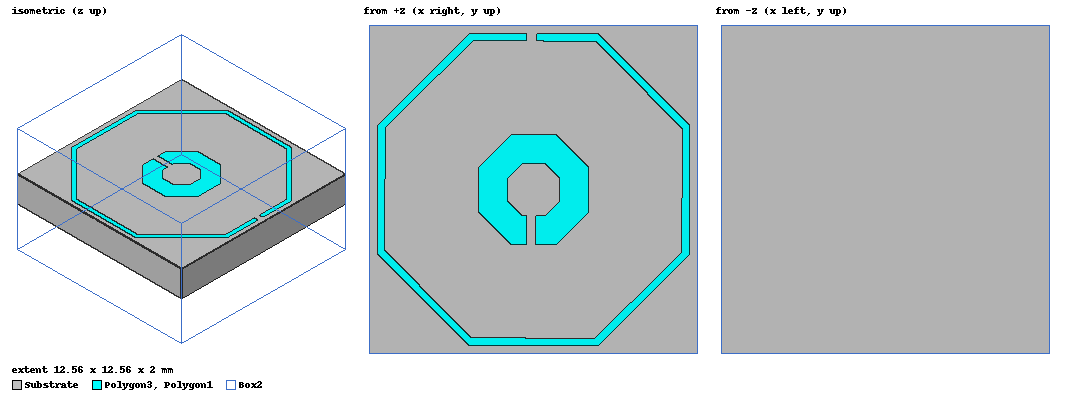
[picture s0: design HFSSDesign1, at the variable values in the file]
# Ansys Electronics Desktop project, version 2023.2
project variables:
  $Ls = $C_centro_afuera*2*$ras
  $Ws = $Ls
  $h = 2mm
  $Altura_caja_aire = 10mm
  $x_centro_afuera = 2.111588278mm  # optimise 1.75mm..5.25mm
  $x_centro_interior = $x_centro_afuera-$r_chica
  $Factor_gap = 0.08  # optimise 0.05..0.15
  $C_centro_afuera = 5.982880535mm  # optimise 2.405mm..7.215mm
  $C_centro_interior = $C_centro_afuera-$r_grande
  $ras = 1.05
  $r_grande = 0.28878261mm  # optimise 0.315mm..0.945mm
  $r_chica = 1.101761707mm  # optimise 0.35mm..1.05mm
  $offsetC = (-0.149335366+0.087508265+2.9797e-5) mm
  $offsetX = (-0.18415798-0.066743382+154.2e-9) mm
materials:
  vacuum: permittivity=1
  Rogers RT/duroid 5870 (tm): permittivity=2.33 dielectric_loss_tangent=0.0012
  Rogers RT/duroid 5880 (tm): permittivity=2.2 dielectric_loss_tangent=0.0009
  air: permittivity=1.0006 permeability=1.0000004

design HFSSDesign1 (HFSS, HFSS Terminal Network, model units mm)
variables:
  Gap = 0.5
  offsetC = 0mm
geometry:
  Substrate [Rogers RT/duroid 5880 (tm)] = box(corner=(-$Ws/2, -$Ls/2, 0mm), size=($Ws, $Ls, $h))
  Box2 [air] = box(corner=(-$Ls/2, -$Ls/2, -$Altura_caja_aire/2+$h), size=($Ls, $Ls, $Altura_caja_aire-$h))
  Polygon1 = regular_polygon(axis=Z, centre=(0mm, 0mm, $h), first_corner=($x_centro_afuera, $x_centro_afuera*0.4116933, $h), sides=8)
  Polygon2 = regular_polygon(axis=Z, centre=(0mm, 0mm, $h), first_corner=($x_centro_interior, $x_centro_interior*0.4116933, $h), sides=8)
  Rectangle1 = rectangle(corner=(-$x_centro_interior*0.4116933*$Factor_gap +$offsetX, -$x_centro_afuera, $h), x_size=2*$C_centro_interior*0.4116933*$Factor_gap, y_size=($x_centro_afuera-$x_centro_interior)*1.1)
  Polygon1.subtract(Polygon2, Rectangle1)
  Polygon3 = regular_polygon(axis=Z, centre=(0mm, 0mm, $h), first_corner=($C_centro_afuera, $C_centro_afuera*0.4116933, $h), sides=8)
  Polygon4 = regular_polygon(axis=Z, centre=(0mm, 0mm, $h), first_corner=($C_centro_interior, $C_centro_interior*0.4116933, $h), sides=8)
  Polygon3.subtract(Polygon4)
  Rectangle2 = rectangle(corner=(-$C_centro_interior*0.4116933*$Factor_gap +$offsetC, $C_centro_interior-0.03e-3, $h), x_size=2*$C_centro_interior*0.4116933*$Factor_gap, y_size=($C_centro_afuera-$C_centro_interior)*1.1)
  Polygon3.subtract(Rectangle2)
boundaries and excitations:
  PerfE1: Perfect E Faces=Box2.face(-y)
  PerfE2: Perfect E Faces=Box2.face(+y)
  PerfH1: Perfect H Faces=Box2.face(+z)
  PerfH2: Perfect H Faces=Box2.face(-z)
  PerfE3: Perfect E Objects=[Polygon3, Polygon1]
  1: Wave Port Faces=Box2.face(+x) WavePortType=Modal NumModes=1 Modes{Mode1{IntLine{(6.2820246, -6.2820246, 1) -> (6.2820246, 6.2820246, 1)} CharImp=Zpi}}
  2: Wave Port Faces=Box2.face(-x) WavePortType=Modal NumModes=1 Modes{Mode1{IntLine{(-6.2820246, -6.2820246, 1) -> (-6.2820246, 6.2820246, 1)} CharImp=Zpi}}
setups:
  Setup1: HfssDriven Frequency=2.45GHz MaxDeltaS=0.02 MaximumPasses=20 MinimumPasses=1 MinimumConvergedPasses=1 PercentRefinement=30 BasisOrder=1 PortAccuracy=2 DrivenSolverType="Direct Solver"
    sweep Sweep: 1GHz to 5GHz step 0.001GHz; Type=Fast SaveFields
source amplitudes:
  1:1: 1V 0deg
  2:1: 0V 0deg
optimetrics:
  OptimizationSetup1: Optimization disabled Optimizer="kDX ASO" AnalysisStopOptions{StopForNumIteration MaxNumIteration=92 MinNumIteration=10} CostFuncNormType=L2 Acceptable_Cost=0 Noise=0.0001 UpdateDesignWhenDone
    vary $C_centro_afuera: Min=4.5mm Max=7.215mm MinStep=0.0481mm MaxStep=0.481mm MinFocus=2.405mm MaxFocus=7.215mm start=4.81mm
    vary $x_centro_afuera: Min=1.75mm Max=3.5mm MinStep=0.035mm MaxStep=0.35mm MinFocus=1.75mm MaxFocus=5.25mm start=3.5mm
    goal dB(St(1,1)) Minimize -40 weight 1 on Setup1 : Sweep at Freq 2.45GHz
  ParametricSetup1: Parametric disabled Sim._Setups=[Setup1]
    sweep $C_centro_afuera: LIN 4.8mm 5.5mm 0.01mm
    sweep $Factor_gap: LIN 0.08 0.11 0.1
    sweep $r_grande: LIN 0.6mm 0.71mm 0.01mm
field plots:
  Vector_E1: E Field over Polygon1.face(at (0, 0, 2)) Polygon3.face(at (0, 0, 2)) on Setup1 : LastAdaptive at Freq=2.45GHz Phase=0deg
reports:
  Terminal S Parameter Plot 2: dB(St(1,1)) vs Freq on Setup1 : Sweep [$x_centro_afuera=all $Factor_gap=all $C_centro_afuera=all $r_grande=all $r_chica=all]
  Terminal S Parameter Plot 3: dB(St(1,1)) vs Freq on Setup1 : Sweep [$Factor_gap=all $C_centro_afuera=all $r_grande=all]
  Terminal S Parameter Plot 4: dB(St(1,1)) vs Freq on Setup1 : Sweep
  Terminal S Parameter Plot 5: dB(St(1,1)) vs Freq on Setup1 : Sweep
